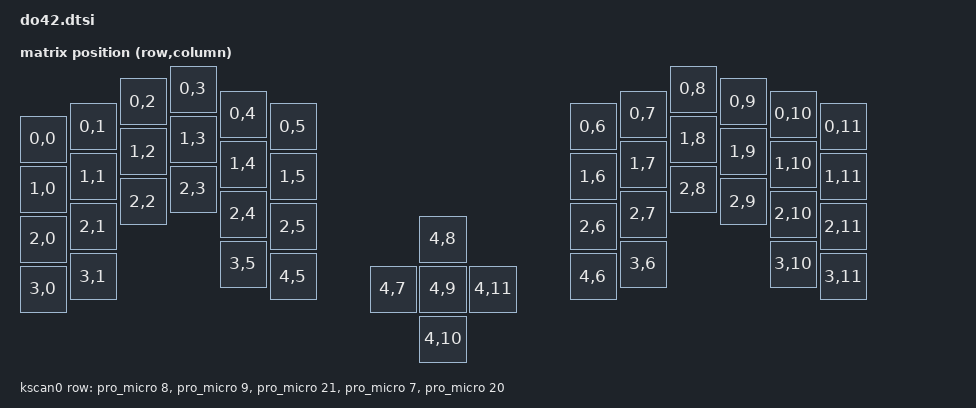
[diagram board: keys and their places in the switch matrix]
#include <physical_layouts.dtsi>
#include <dt-bindings/zmk/matrix_transform.h>

/ {
    physical_layout0: physical_layout_0 {
        compatible = "zmk,physical-layout";
        display-name = "Default Layout";
        transform = <&default_transform>;
        kscan = <&kscan0>;

        keys  //                     w   h    x    y     rot    rx    ry
            = <&key_physical_attrs 100 100    0  100       0     0     0>
            , <&key_physical_attrs 100 100  100   75       0     0     0>
            , <&key_physical_attrs 100 100  200   25       0     0     0>
            , <&key_physical_attrs 100 100  300    0       0     0     0>
            , <&key_physical_attrs 100 100  400   50       0     0     0>
            , <&key_physical_attrs 100 100  500   75       0     0     0>
            , <&key_physical_attrs 100 100 1100   75       0     0     0>
            , <&key_physical_attrs 100 100 1200   50       0     0     0>
            , <&key_physical_attrs 100 100 1300    0       0     0     0>
            , <&key_physical_attrs 100 100 1400   25       0     0     0>
            , <&key_physical_attrs 100 100 1500   50       0     0     0>
            , <&key_physical_attrs 100 100 1600   75       0     0     0>
            , <&key_physical_attrs 100 100    0  200       0     0     0>
            , <&key_physical_attrs 100 100  100  175       0     0     0>
            , <&key_physical_attrs 100 100  200  125       0     0     0>
            , <&key_physical_attrs 100 100  300  100       0     0     0>
            , <&key_physical_attrs 100 100  400  150       0     0     0>
            , <&key_physical_attrs 100 100  500  175       0     0     0>
            , <&key_physical_attrs 100 100 1100  175       0     0     0>
            , <&key_physical_attrs 100 100 1200  150       0     0     0>
            , <&key_physical_attrs 100 100 1300  100       0     0     0>
            , <&key_physical_attrs 100 100 1400  125       0     0     0>
            , <&key_physical_attrs 100 100 1500  150       0     0     0>
            , <&key_physical_attrs 100 100 1600  175       0     0     0>
            , <&key_physical_attrs 100 100    0  300       0     0     0>
            , <&key_physical_attrs 100 100  100  275       0     0     0>
            , <&key_physical_attrs 100 100  200  225       0     0     0>
            , <&key_physical_attrs 100 100  300  200       0     0     0>
            , <&key_physical_attrs 100 100  400  250       0     0     0>
            , <&key_physical_attrs 100 100  500  275       0     0     0>
            , <&key_physical_attrs 100 100 1100  275       0     0     0>
            , <&key_physical_attrs 100 100 1200  250       0     0     0>
            , <&key_physical_attrs 100 100 1300  200       0     0     0>
            , <&key_physical_attrs 100 100 1400  225       0     0     0>
            , <&key_physical_attrs 100 100 1500  250       0     0     0>
            , <&key_physical_attrs 100 100 1600  275       0     0     0>
            , <&key_physical_attrs 100 100    0  400       0     0     0>
            , <&key_physical_attrs 100 100  100  375       0     0     0>
            , <&key_physical_attrs 100 100  400  350       0     0     0>
            , <&key_physical_attrs 100 100  500  375       0     0     0>
            , <&key_physical_attrs 100 100 1100  375       0     0     0>
            , <&key_physical_attrs 100 100 1200  350       0     0     0>
            , <&key_physical_attrs 100 100 1500  350       0     0     0>
            , <&key_physical_attrs 100 100 1600  375       0     0     0>
            , <&key_physical_attrs 100 100  700  400       0     0     0>
            , <&key_physical_attrs 100 100  800  500       0     0     0>
            , <&key_physical_attrs 100 100  800  400       0     0     0>
            , <&key_physical_attrs 100 100  800  300       0     0     0>
            , <&key_physical_attrs 100 100  900  400       0     0     0>
            ;
    };

    position_map {
        compatible = "zmk,physical-layout-position-map";
        complete;

        physical_layout0 {
            physical-layout = <&physical_layout0>;
            positions = <>;
        };
    };
};

/ {
    default_transform: keymap_transform_0 {
        compatible = "zmk,matrix-transform";
        columns = <12>;
        rows = <5>;
        map = <
RC(0,0) RC(0,1) RC(0,2) RC(0,3) RC(0,4) RC(0,5)  RC(0,6) RC(0,7) RC(0,8) RC(0,9) RC(0,10) RC(0,11)
RC(1,0) RC(1,1) RC(1,2) RC(1,3) RC(1,4) RC(1,5)  RC(1,6) RC(1,7) RC(1,8) RC(1,9) RC(1,10) RC(1,11)
RC(2,0) RC(2,1) RC(2,2) RC(2,3) RC(2,4) RC(2,5)  RC(2,6) RC(2,7) RC(2,8) RC(2,9) RC(2,10) RC(2,11)
RC(3,0) RC(3,1)                 RC(3,5) RC(4,5)  RC(4,6) RC(3,6)                 RC(3,10) RC(3,11)
                            RC(4,7) RC(4,10) RC(4,9) RC(4,8) RC(4,11)
        >;
    };

    kscan0: kscan {
        compatible = "zmk,kscan-gpio-matrix";
        wakeup-source;
        diode-direction = "col2row";
        row-gpios
            = <&pro_micro 8 (GPIO_ACTIVE_HIGH | GPIO_PULL_DOWN)>
            , <&pro_micro 9 (GPIO_ACTIVE_HIGH | GPIO_PULL_DOWN)>
            , <&pro_micro 21 (GPIO_ACTIVE_HIGH | GPIO_PULL_DOWN)>
            , <&pro_micro 7 (GPIO_ACTIVE_HIGH | GPIO_PULL_DOWN)>
            , <&pro_micro 20 (GPIO_ACTIVE_HIGH | GPIO_PULL_DOWN)>
            ;

    };
};
